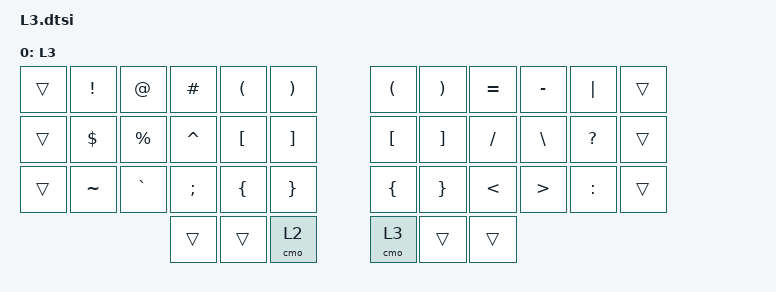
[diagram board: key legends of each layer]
/**
 * Symbols and Special Characters Layer
 */

/ {
  keymap {
    compatible = "zmk,keymap";

    layer_3 {
      display-name = "L3";
      bindings = <
// ╭───────────────┬───────────────┬───────────────┬───────────────┬───────────────┬───────────────╮   ╭───────────────┬───────────────┬───────────────┬───────────────┬───────────────┬───────────────╮
// │0              │1              │2              │3              │4              │5              │   │6              │7              │8              │9              │10             │11             │
    &trans          &kp EXCL          &kp AT        &kp HASH        &kp LPAR        &kp RPAR            &kp LPAR        &kp RPAR        &kp EQUAL       &kp MINUS       &kp PIPE      &trans
// ├───────────────├───────────────┼───────────────┼───────────────┼───────────────┼───────────────┤   ├───────────────├───────────────┼───────────────┼───────────────┼───────────────┼───────────────┤
// │12             │13             │14             │15             │16             │17             │   │18             │19             │20             │21             │22             │23             │
    &trans          &kp DLLR        &kp PRCNT      &kp CARET       &kp LBKT        &kp RBKT             &kp LBKT        &kp RBKT        &kp FSLH        &kp BSLH        &kp QMARK         &trans
// ├───────────────├───────────────┼───────────────┼───────────────┼───────────────┼───────────────┤   ├───────────────├───────────────┼───────────────┼───────────────┼───────────────┼───────────────┤
// │24             │25             │26             │27             │28             │29             │   │30             │31             │32             │33             │34             │35             │
    &trans          &kp TILDE       &kp GRAVE      &kp SEMICOLON   &kp LBRC        &kp RBRC             &kp LBRC        &kp RBRC        &kp LT          &kp GT          &kp COLON       &trans
// ╰───────────────┴───────────────┴───────────────┼───────────────┼───────────────┼───────────────┤   ├───────────────├───────────────┼───────────────┼───────────────┴───────────────┴───────────────╯
//                                                 │36             │37             │38             │   │39             │40             │41             │
                                                    &trans          &trans          &cmo L2             &cmo L3         &trans          &trans
//                                                 ╰───────────────┴───────────────┴───────────────╯   ╰───────────────┴───────────────┴───────────────╯
      >;
    };
  };
};
